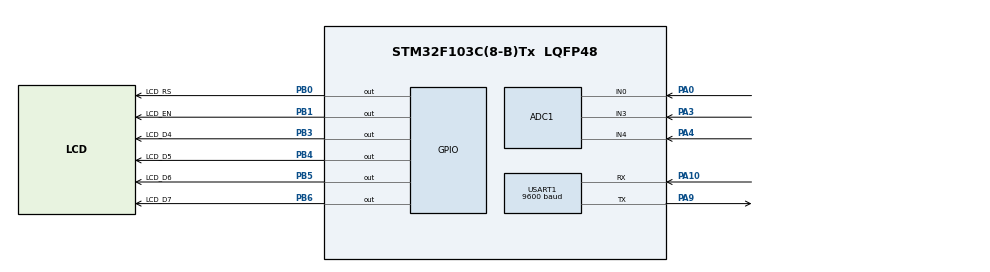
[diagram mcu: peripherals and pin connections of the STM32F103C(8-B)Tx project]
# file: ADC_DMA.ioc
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ADC1.Channel-0\#ChannelRegularConversion=ADC_CHANNEL_0
ADC1.Channel-1\#ChannelRegularConversion=ADC_CHANNEL_3
ADC1.Channel-2\#ChannelRegularConversion=ADC_CHANNEL_4
ADC1.DiscontinuousConvMode=ENABLE
ADC1.NbrOfConversion=3
ADC1.NbrOfConversionFlag=1
ADC1.Rank-0\#ChannelRegularConversion=1
ADC1.Rank-1\#ChannelRegularConversion=2
ADC1.Rank-2\#ChannelRegularConversion=3
ADC1.SamplingTime-0\#ChannelRegularConversion=ADC_SAMPLETIME_1CYCLE_5
ADC1.SamplingTime-1\#ChannelRegularConversion=ADC_SAMPLETIME_1CYCLE_5
ADC1.SamplingTime-2\#ChannelRegularConversion=ADC_SAMPLETIME_1CYCLE_5
ADC1.master=1
Dma.ADC1.0.Direction=DMA_PERIPH_TO_MEMORY
Dma.ADC1.0.Instance=DMA1_Channel1
Dma.ADC1.0.MemDataAlignment=DMA_MDATAALIGN_HALFWORD
Dma.ADC1.0.MemInc=DMA_MINC_ENABLE
Dma.ADC1.0.Mode=DMA_CIRCULAR
Dma.ADC1.0.PeriphDataAlignment=DMA_PDATAALIGN_HALFWORD
Dma.ADC1.0.PeriphInc=DMA_PINC_DISABLE
Dma.ADC1.0.Priority=DMA_PRIORITY_LOW
Dma.Request0=ADC1
Mcu.Family=STM32F1
Mcu.Name=STM32F103C(8-B)Tx
Mcu.Package=LQFP48
Mcu.UserConstants=adc1,$$_ADC1_IP_HANDLE_$$
NVIC.DMA1_Channel1_IRQn=true\:0\:0\:false\:false\:true\:false\:true\:true
NVIC.PriorityGroup=NVIC_PRIORITYGROUP_4
PA0-WKUP.Signal=ADCx_IN0
PA10.Mode=Asynchronous
PA10.Signal=USART1_RX
PA3.Signal=ADCx_IN3
PA4.Signal=ADCx_IN4
PA9.Mode=Asynchronous
PA9.Signal=USART1_TX
PB0.GPIO_Label=LCD_RS
PB0.Signal=GPIO_Output
PB1.GPIO_Label=LCD_EN
PB1.Signal=GPIO_Output
PB3.GPIO_Label=LCD_D4
PB3.Signal=GPIO_Output
PB4.GPIO_Label=LCD_D5
PB4.Signal=GPIO_Output
PB5.GPIO_Label=LCD_D6
PB5.Signal=GPIO_Output
PB6.GPIO_Label=LCD_D7
PB6.Signal=GPIO_Output
ProjectManager.HeapSize=0x200
ProjectManager.StackSize=0x400
ProjectManager.TargetToolchain=STM32CubeIDE
RCC.APB1Freq_Value=8000000
RCC.APB2Freq_Value=8000000
SH.ADCx_IN0.0=ADC1_IN0,IN0
SH.ADCx_IN3.0=ADC1_IN3,IN3
SH.ADCx_IN4.0=ADC1_IN4,IN4
USART1.BaudRate=9600
USART1.VirtualMode=VM_ASYNC
board=custom

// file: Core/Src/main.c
/* USER CODE BEGIN Header */
/**
  ******************************************************************************
  * @file           : main.c
  * @brief          : Main program body
  ******************************************************************************
  * @attention
  *
  * Copyright (c) 2023 STMicroelectronics.
  * All rights reserved.
  *
  * This software is licensed under terms that can be found in the LICENSE file
  * in the root directory of this software component.
  * If no LICENSE file comes with this software, it is provided AS-IS.
  *
  ******************************************************************************
  */
/* USER CODE END Header */
#include "main.h"

/* USER CODE BEGIN Includes */
#include "adc.h"
#include "delays.h"
#include "uart.h"
#include "lcd.h"

#include "stdio.h"
#include "string.h"

#include "stdint.h"

/* USER CODE END Includes */

ADC_HandleTypeDef hadc1;
DMA_HandleTypeDef hdma_adc1;

UART_HandleTypeDef huart1;

/* USER CODE BEGIN PV */
uint16_t codigo;
float voltaje1,voltaje2,temperatura;
char texto[50];

//DMA ADC

uint16_t adc_buf[4];

/* USER CODE END PV */

void SystemClock_Config(void);
static void MX_GPIO_Init(void);
static void MX_DMA_Init(void);
static void MX_ADC1_Init(void);
static void MX_USART1_UART_Init(void);

int main(void)
{

  /* MCU Configuration--------------------------------------------------------*/

  /* Reset of all peripherals, Initializes the Flash interface and the Systick. */
  HAL_Init();

  /* Configure the system clock */
  SystemClock_Config();

  /* Initialize all configured peripherals */
  MX_GPIO_Init();
  MX_DMA_Init();
  MX_ADC1_Init();
  MX_USART1_UART_Init();
  /* USER CODE BEGIN 2 */

    delay_us_dwt_init();
    Lcd_Init();
    Lcd_Cmd(_LCD_CLEAR);
    Lcd_Cmd(_LCD_CURSOR_OFF);

    Lcd_Text(1, 4, "ADC_DMA");
    uartx_write_text(&huart1, "INICIANDO\r\n");

  /* USER CODE END 2 */

  /* Infinite loop */
  /* USER CODE BEGIN WHILE */
  while (1)
  {

	  //SIN DMA
   /* codigo=ADC_Read();
    voltaje1=codigo*3.3/4095.0;

    codigo=ADC_Read();
    voltaje2=codigo*3.3/4095.0;

    codigo=ADC_Read();
    temperatura=codigo*3.3*100.0/4095.0;
*/

	  //CON DMA

	  HAL_ADC_Start_DMA(&hadc1, adc_buf, 3);//iniCica la conversion
	 HAL_Delay(10);

	 voltaje1=adc_buf[0]*3.3/4095.0;
	 voltaje2=adc_buf[1]*3.3/4095.0;
	 temperatura=adc_buf[2]*3.3*100.0/4095.0;

    sprintf(texto,"v1=%.1f",voltaje1);
    Lcd_Text(2,1,texto);

    sprintf(texto,"v2=%.1f",voltaje2);
        Lcd_Text(3,1,texto);

        sprintf(texto,"Temp=%.2f",temperatura);
            Lcd_Text(4,1,texto);
            sprintf(texto,"V1=%.1f    V2=%.1f     V1=%.2f\r\n\r\n",voltaje1,voltaje2,temperatura);

      uartx_write_text(&huart1, texto);
    HAL_Delay(500);
    /* USER CODE END WHILE */

  }
}

void SystemClock_Config(void)
{
  RCC_OscInitTypeDef RCC_OscInitStruct = {0};
  RCC_ClkInitTypeDef RCC_ClkInitStruct = {0};
  RCC_PeriphCLKInitTypeDef PeriphClkInit = {0};

  /** Initializes the RCC Oscillators according to the specified parameters
  * in the RCC_OscInitTypeDef structure.
  */
  RCC_OscInitStruct.OscillatorType = RCC_OSCILLATORTYPE_HSI;
  RCC_OscInitStruct.HSIState = RCC_HSI_ON;
  RCC_OscInitStruct.HSICalibrationValue = RCC_HSICALIBRATION_DEFAULT;
  RCC_OscInitStruct.PLL.PLLState = RCC_PLL_NONE;
  if (HAL_RCC_OscConfig(&RCC_OscInitStruct) != HAL_OK)
  {
    Error_Handler();
  }

  /** Initializes the CPU, AHB and APB buses clocks
  */
  RCC_ClkInitStruct.ClockType = RCC_CLOCKTYPE_HCLK|RCC_CLOCKTYPE_SYSCLK
                              |RCC_CLOCKTYPE_PCLK1|RCC_CLOCKTYPE_PCLK2;
  RCC_ClkInitStruct.SYSCLKSource = RCC_SYSCLKSOURCE_HSI;
  RCC_ClkInitStruct.AHBCLKDivider = RCC_SYSCLK_DIV1;
  RCC_ClkInitStruct.APB1CLKDivider = RCC_HCLK_DIV1;
  RCC_ClkInitStruct.APB2CLKDivider = RCC_HCLK_DIV1;

  if (HAL_RCC_ClockConfig(&RCC_ClkInitStruct, FLASH_LATENCY_0) != HAL_OK)
  {
    Error_Handler();
  }
  PeriphClkInit.PeriphClockSelection = RCC_PERIPHCLK_ADC;
  PeriphClkInit.AdcClockSelection = RCC_ADCPCLK2_DIV2;
  if (HAL_RCCEx_PeriphCLKConfig(&PeriphClkInit) != HAL_OK)
  {
    Error_Handler();
  }
}

static void MX_ADC1_Init(void)
{

  ADC_ChannelConfTypeDef sConfig = {0};

  /** Common config
  */
  hadc1.Instance = ADC1;
  hadc1.Init.ScanConvMode = ADC_SCAN_ENABLE;
  hadc1.Init.ContinuousConvMode = DISABLE;
  hadc1.Init.DiscontinuousConvMode = ENABLE;
  hadc1.Init.NbrOfDiscConversion = 1;
  hadc1.Init.ExternalTrigConv = ADC_SOFTWARE_START;
  hadc1.Init.DataAlign = ADC_DATAALIGN_RIGHT;
  hadc1.Init.NbrOfConversion = 3;
  if (HAL_ADC_Init(&hadc1) != HAL_OK)
  {
    Error_Handler();
  }

  /** Configure Regular Channel
  */
  sConfig.Channel = ADC_CHANNEL_0;
  sConfig.Rank = ADC_REGULAR_RANK_1;
  sConfig.SamplingTime = ADC_SAMPLETIME_1CYCLE_5;
  if (HAL_ADC_ConfigChannel(&hadc1, &sConfig) != HAL_OK)
  {
    Error_Handler();
  }

  /** Configure Regular Channel
  */
  sConfig.Channel = ADC_CHANNEL_3;
  sConfig.Rank = ADC_REGULAR_RANK_2;
  if (HAL_ADC_ConfigChannel(&hadc1, &sConfig) != HAL_OK)
  {
    Error_Handler();
  }

  /** Configure Regular Channel
  */
  sConfig.Channel = ADC_CHANNEL_4;
  sConfig.Rank = ADC_REGULAR_RANK_3;
  if (HAL_ADC_ConfigChannel(&hadc1, &sConfig) != HAL_OK)
  {
    Error_Handler();
  }

}

static void MX_USART1_UART_Init(void)
{

  huart1.Instance = USART1;
  huart1.Init.BaudRate = 9600;
  huart1.Init.WordLength = UART_WORDLENGTH_8B;
  huart1.Init.StopBits = UART_STOPBITS_1;
  huart1.Init.Parity = UART_PARITY_NONE;
  huart1.Init.Mode = UART_MODE_TX_RX;
  huart1.Init.HwFlowCtl = UART_HWCONTROL_NONE;
  huart1.Init.OverSampling = UART_OVERSAMPLING_16;
  if (HAL_UART_Init(&huart1) != HAL_OK)
  {
    Error_Handler();
  }

}

static void MX_DMA_Init(void)
{

  /* DMA controller clock enable */
  __HAL_RCC_DMA1_CLK_ENABLE();

  /* DMA interrupt init */
  /* DMA1_Channel1_IRQn interrupt configuration */
  HAL_NVIC_SetPriority(DMA1_Channel1_IRQn, 0, 0);
  HAL_NVIC_EnableIRQ(DMA1_Channel1_IRQn);

}

static void MX_GPIO_Init(void)
{
  GPIO_InitTypeDef GPIO_InitStruct = {0};

  /* GPIO Ports Clock Enable */
  __HAL_RCC_GPIOA_CLK_ENABLE();
  __HAL_RCC_GPIOB_CLK_ENABLE();

  /*Configure GPIO pin Output Level */
  HAL_GPIO_WritePin(GPIOB, LCD_RS_Pin|LCD_EN_Pin|LCD_D4_Pin|LCD_D5_Pin
                          |LCD_D6_Pin|LCD_D7_Pin, GPIO_PIN_RESET);

  /*Configure GPIO pins : LCD_RS_Pin LCD_EN_Pin LCD_D4_Pin LCD_D5_Pin
                           LCD_D6_Pin LCD_D7_Pin */
  GPIO_InitStruct.Pin = LCD_RS_Pin|LCD_EN_Pin|LCD_D4_Pin|LCD_D5_Pin
                          |LCD_D6_Pin|LCD_D7_Pin;
  GPIO_InitStruct.Mode = GPIO_MODE_OUTPUT_PP;
  GPIO_InitStruct.Pull = GPIO_NOPULL;
  GPIO_InitStruct.Speed = GPIO_SPEED_FREQ_LOW;
  HAL_GPIO_Init(GPIOB, &GPIO_InitStruct);

}

void Error_Handler(void)
{
  __disable_irq();
  while (1)
  {
  }
}
